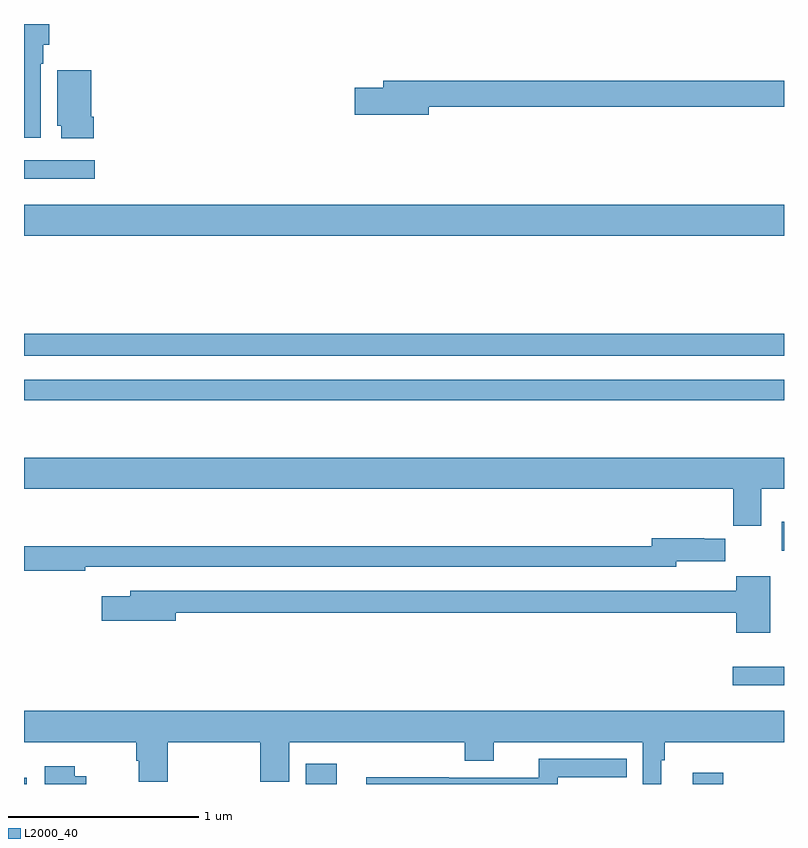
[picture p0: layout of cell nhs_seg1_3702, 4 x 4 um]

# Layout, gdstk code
import gdstk
lib = gdstk.Library(unit=1e-6, precision=1e-09)
def R(c, l, rs):  # rectangles x0, y0, x1, y1
    for r in rs: c.add(gdstk.rectangle(r[:2], r[2:], *l))
def P(c, l, *ps):  # polygons
    for p in ps: c.add(gdstk.Polygon(p, *l))
L2000_40 = (2000, 40)

nhs_seg1_3702 = lib.new_cell('nhs_seg1_3702')
R(nhs_seg1_3702, L2000_40, [(313,530.199,313.014,530.232), (314.484,530.199,314.645,530.305), (316.52,530.199,316.679,530.257), (316.731,530.72,317,530.817), (316.988,531.426,317,531.58), (313,532.218,317,532.326), (313,532.452,317,532.568), (313,533.084,317,533.248), (313,533.384,313.372,533.481)])
P(nhs_seg1_3702, L2000_40, [(313.087,533.99),(313.102,533.99),(313.102,534.09),(313.132,534.09),(313.132,534.199),(313,534.199),(313,533.601),(313.087,533.601)],
  [(313.367,533.71),(313.354,533.71),(313.354,533.956),(313.175,533.956),(313.175,533.664),(313.196,533.664),(313.196,533.598),(313.367,533.598)],
  [(315.13,533.764),(317,533.764),(317,533.9),(314.891,533.9),(314.891,533.864),(314.742,533.864),(314.742,533.722),(315.13,533.722)],
  [(316.879,531.752),(317,531.752),(317,531.916),(313,531.916),(313,531.752),(316.733,531.752),(316.733,531.559),(316.879,531.559)],
  [(313.322,531.342),(316.432,531.342),(316.432,531.371),(316.691,531.371),(316.691,531.489),(316.58,531.489),(316.58,531.493),(316.304,531.493),(316.304,531.451),(313,531.451),(313,531.322),(313.322,531.322)],
  [(316.927,531.292),(316.748,531.292),(316.748,531.217),(316.528,531.217),(316.528,531.216),(313.559,531.216),(313.559,531.187),(313.41,531.187),(313.41,531.058),(313.798,531.058),(313.798,531.1),(316.748,531.1),(316.748,530.996),(316.927,530.996)],
  [(316.354,530.324),(316.373,530.324),(316.373,530.42),(317,530.42),(317,530.584),(313,530.584),(313,530.42),(313.592,530.42),(313.592,530.322),(313.604,530.322),(313.604,530.212),(313.757,530.212),(313.757,530.42),(314.243,530.42),(314.243,530.212),(314.395,530.212),(314.395,530.42),(315.32,530.42),(315.32,530.321),(315.472,530.321),(315.472,530.42),(316.257,530.42),(316.257,530.199),(316.354,530.199)],
  [(315.808,530.235),(316.172,530.235),(316.172,530.331),(315.709,530.331),(315.709,530.232),(315.236,530.232),(315.236,530.234),(314.802,530.234),(314.802,530.199),(315.808,530.199)],
  [(313.328,530.241),(313.266,530.241),(313.266,530.293),(313.11,530.293),(313.11,530.199),(313.328,530.199)])

lib.write_gds('nhs_seg1_3702.gds')
